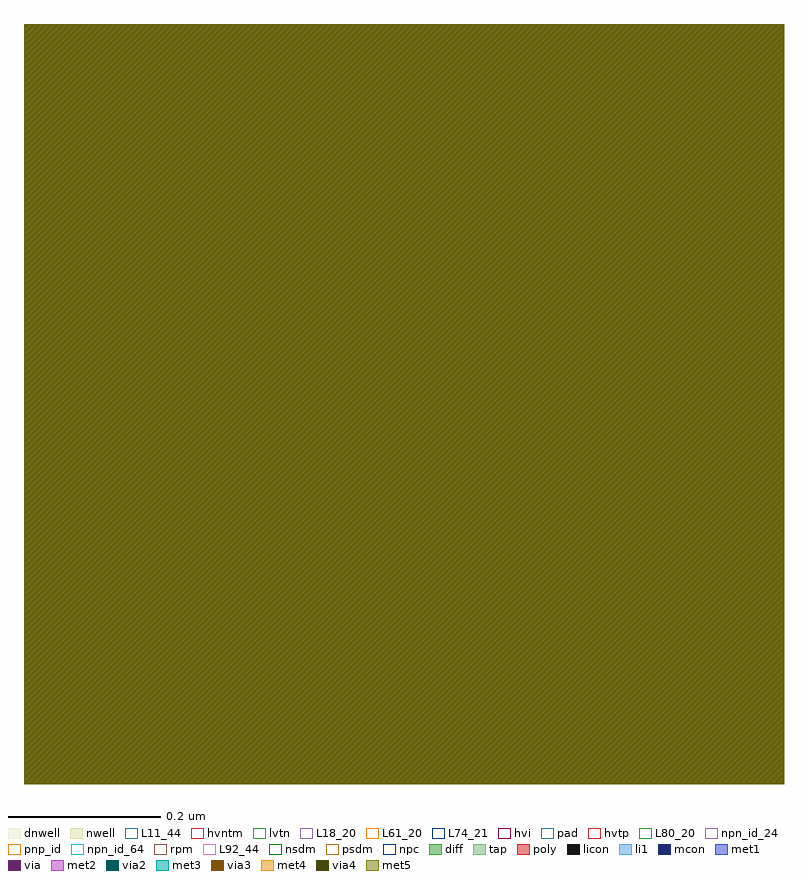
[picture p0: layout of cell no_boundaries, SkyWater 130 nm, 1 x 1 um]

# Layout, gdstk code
import gdstk
lib = gdstk.Library(unit=1e-6, precision=1e-09)
def R(c, l, rs):  # rectangles x0, y0, x1, y1
    for r in rs: c.add(gdstk.rectangle(r[:2], r[2:], *l))
L11_44 = (11, 44)
L18_20 = (18, 20)
L61_20 = (61, 20)
dnwell = (64, 18)
nwell = (64, 20)
diff = (65, 20)
tap = (65, 44)
poly = (66, 20)
licon = (66, 44)
li1 = (67, 20)
mcon = (67, 44)
met1 = (68, 20)
via = (68, 44)
met2 = (69, 20)
via2 = (69, 44)
met3 = (70, 20)
via3 = (70, 44)
met4 = (71, 20)
via4 = (71, 44)
met5 = (72, 20)
L74_21 = (74, 21)
hvi = (75, 20)
pad = (76, 20)
hvtp = (78, 44)
L80_20 = (80, 20)
npn_id_24 = (82, 24)
pnp_id = (82, 44)
npn_id_64 = (82, 64)
rpm = (86, 20)
L92_44 = (92, 44)
nsdm = (93, 44)
psdm = (94, 20)
npc = (95, 20)
hvntm = (125, 20)
lvtn = (125, 44)

no_boundaries = lib.new_cell('no_boundaries')
R(no_boundaries, L11_44, [(1,1,2,2)])
R(no_boundaries, L18_20, [(1,1,2,2)])
R(no_boundaries, L61_20, [(1,1,2,2)])
R(no_boundaries, dnwell, [(1,1,2,2)])
R(no_boundaries, nwell, [(1,1,2,2)])
R(no_boundaries, diff, [(1,1,2,2)])
R(no_boundaries, tap, [(1,1,2,2)])
R(no_boundaries, poly, [(1,1,2,2)])
R(no_boundaries, licon, [(1,1,2,2)])
R(no_boundaries, li1, [(1,1,2,2)])
R(no_boundaries, mcon, [(1,1,2,2)])
R(no_boundaries, met1, [(1,1,2,2)])
R(no_boundaries, via, [(1,1,2,2)])
R(no_boundaries, met2, [(1,1,2,2)])
R(no_boundaries, via2, [(1,1,2,2)])
R(no_boundaries, met3, [(1,1,2,2)])
R(no_boundaries, via3, [(1,1,2,2)])
R(no_boundaries, met4, [(1,1,2,2)])
R(no_boundaries, via4, [(1,1,2,2)])
R(no_boundaries, met5, [(1,1,2,2)])
R(no_boundaries, L74_21, [(1,1,2,2)])
R(no_boundaries, hvi, [(1,1,2,2)])
R(no_boundaries, pad, [(1,1,2,2)])
R(no_boundaries, hvtp, [(1,1,2,2)])
R(no_boundaries, L80_20, [(1,1,2,2)])
R(no_boundaries, npn_id_24, [(1,1,2,2)])
R(no_boundaries, pnp_id, [(1,1,2,2)])
R(no_boundaries, npn_id_64, [(1,1,2,2)])
R(no_boundaries, rpm, [(1,1,2,2)])
R(no_boundaries, L92_44, [(1,1,2,2)])
R(no_boundaries, nsdm, [(1,1,2,2)])
R(no_boundaries, psdm, [(1,1,2,2)])
R(no_boundaries, npc, [(1,1,2,2)])
R(no_boundaries, hvntm, [(1,1,2,2)])
R(no_boundaries, lvtn, [(1,1,2,2)])

lib.write_gds('no_boundaries.gds')
